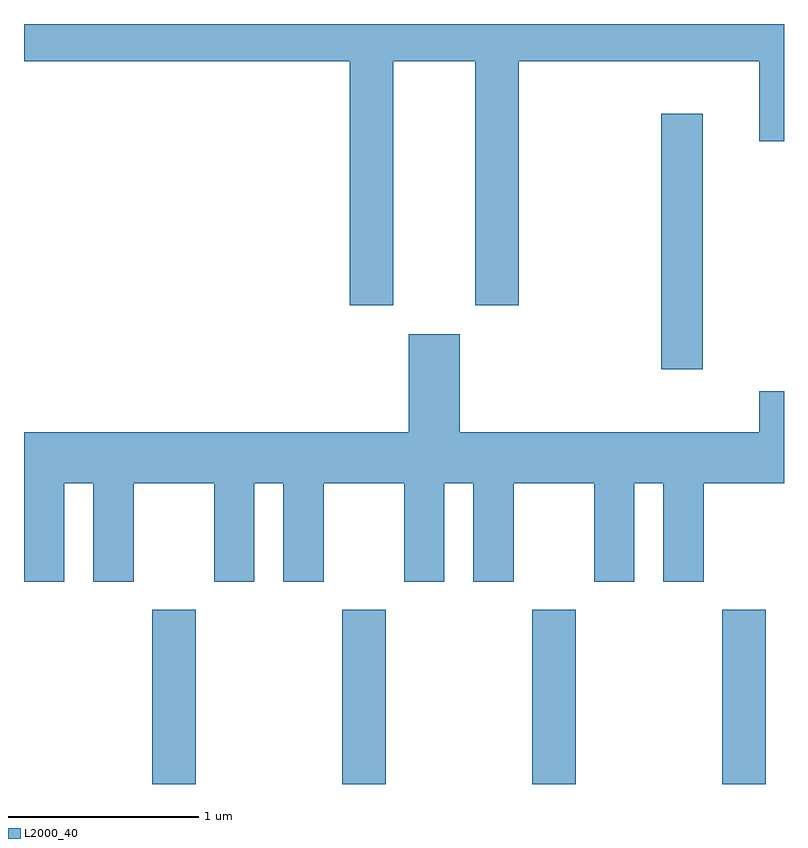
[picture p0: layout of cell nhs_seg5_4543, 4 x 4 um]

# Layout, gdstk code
import gdstk
lib = gdstk.Library(unit=1e-6, precision=1e-09)
def R(c, l, rs):  # rectangles x0, y0, x1, y1
    for r in rs: c.add(gdstk.rectangle(r[:2], r[2:], *l))
def A(c, l, x, y, w, h, nx, ny, dx, dy):  # array of equal rectangles
    R(c, l, [(x+i*dx, y+j*dy, x+i*dx+w, y+j*dy+h) for i in range(nx) for j in range(ny)])
def P(c, l, *ps):  # polygons
    for p in ps: c.add(gdstk.Polygon(p, *l))
L2000_40 = (2000, 40)

nhs_seg5_4543 = lib.new_cell('nhs_seg5_4543')
A(nhs_seg5_4543, L2000_40, 320.286, 1484.072, 0.228, 0.917, 4, 1, 1, 0)
R(nhs_seg5_4543, L2000_40, [(322.966,1486.256,323.184,1487.599)])
P(nhs_seg5_4543, L2000_40, [(321.554,1487.876),(321.986,1487.876),(321.986,1486.591),(322.214,1486.591),(322.214,1487.876),(323.481,1487.876),(323.481,1487.456),(323.611,1487.456),(323.611,1488.072),(319.611,1488.072),(319.611,1487.876),(321.326,1487.876),(321.326,1486.591),(321.554,1486.591)],
  [(319.824,1485.656),(319.976,1485.656),(319.976,1485.136),(320.189,1485.136),(320.189,1485.656),(320.611,1485.656),(320.611,1485.136),(320.824,1485.136),(320.824,1485.656),(320.976,1485.656),(320.976,1485.136),(321.189,1485.136),(321.189,1485.656),(321.611,1485.656),(321.611,1485.136),(321.824,1485.136),(321.824,1485.656),(321.976,1485.656),(321.976,1485.136),(322.189,1485.136),(322.189,1485.656),(322.611,1485.656),(322.611,1485.136),(322.824,1485.136),(322.824,1485.656),(322.976,1485.656),(322.976,1485.136),(323.189,1485.136),(323.189,1485.656),(323.611,1485.656),(323.611,1486.139),(323.481,1486.139),(323.481,1485.924),(321.904,1485.924),(321.904,1486.439),(321.636,1486.439),(321.636,1485.924),(319.611,1485.924),(319.611,1485.136),(319.824,1485.136)])

lib.write_gds('nhs_seg5_4543.gds')
